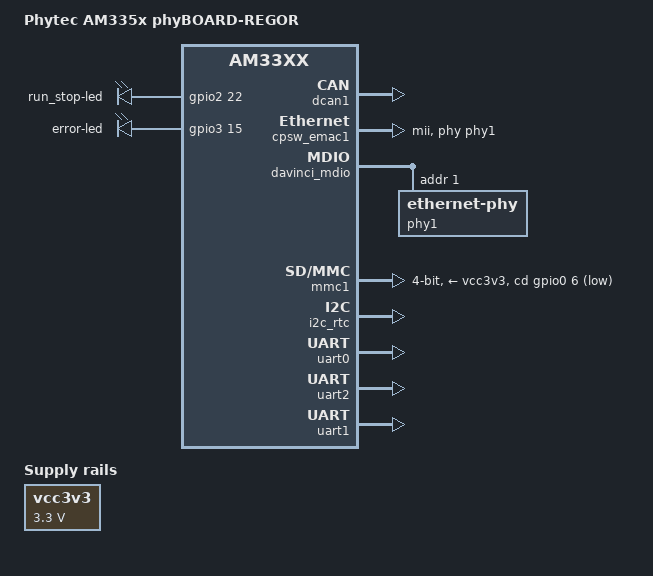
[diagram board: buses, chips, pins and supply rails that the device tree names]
// SPDX-License-Identifier: GPL-2.0
/*
 * Copyright (C) 2019 Phytec Messtechnik GmbH
 * Author: Teresa Remmet <t.remmet@phytec.de>
 *
 */

/ {
	model = "Phytec AM335x phyBOARD-REGOR";
	compatible = "phytec,am335x-regor", "phytec,am335x-phycore-som", "ti,am33xx";

	vcc3v3: fixedregulator@1 {
		compatible = "regulator-fixed";
		regulator-name = "vcc3v3";
		regulator-min-microvolt = <3300000>;
		regulator-max-microvolt = <3300000>;
		regulator-boot-on;
	};

	/* User IO */
	user_leds: user_leds {
		compatible = "gpio-leds";
		pinctrl-names = "default";
		pinctrl-0 = <&user_leds_pins>;

		run_stop-led {
			gpios = <&gpio2 22 GPIO_ACTIVE_HIGH>;
			linux,default-trigger = "gpio";
			default-state = "off";
		};

		error-led {
			gpios = <&gpio3 15 GPIO_ACTIVE_HIGH>;
			linux,default-trigger = "gpio";
			default-state = "off";
		};
	};
};

/* User Leds */
&am33xx_pinmux {
	user_leds_pins: pinmux_user_leds {
		pinctrl-single,pins = <
			AM33XX_IOPAD(0x8E0, PIN_OUTPUT_PULLDOWN | MUX_MODE7)	/* lcd_hsync.gpio2_22 */
			AM33XX_IOPAD(0x994, PIN_OUTPUT_PULLDOWN | MUX_MODE7)	/* mcasp0_fsx.gpio3_15 */
		>;
	};
};

/* CAN Busses */
&am33xx_pinmux {
	dcan1_pins: pinmux_dcan1 {
		pinctrl-single,pins = <
			AM33XX_IOPAD(0x968, PIN_OUTPUT_PULLUP | MUX_MODE2)	/* uart0_ctsn.d_can1_tx */
			AM33XX_IOPAD(0x96C, PIN_INPUT_PULLUP | MUX_MODE2)	/* uart0_rtsn.d_can1_rx */
		>;
	};
};

&dcan1 {
	pinctrl-names = "default";
	pinctrl-0 = <&dcan1_pins>;
	status = "okay";
};

/* Ethernet */
&am33xx_pinmux {
	ethernet1_pins: pinmux_ethernet1 {
		pinctrl-single,pins = <
			AM33XX_IOPAD(0x840, PIN_OUTPUT | MUX_MODE1)		/* gpmc_a0.mii2_txen */
			AM33XX_IOPAD(0x844, PIN_INPUT_PULLDOWN | MUX_MODE1)	/* gpmc_a1.mii2_rxdv */
			AM33XX_IOPAD(0x848, PIN_OUTPUT | MUX_MODE1)		/* gpmc_a2.mii2_txd3 */
			AM33XX_IOPAD(0x84C, PIN_OUTPUT | MUX_MODE1)		/* gpmc_a3.mii2_txd2 */
			AM33XX_IOPAD(0x850, PIN_OUTPUT | MUX_MODE1)		/* gpmc_a4.mii2_txd1 */
			AM33XX_IOPAD(0x854, PIN_OUTPUT | MUX_MODE1)		/* gpmc_a5.mii2_txd0 */
			AM33XX_IOPAD(0x858, PIN_INPUT_PULLDOWN | MUX_MODE1)	/* gpmc_a6.mii2_txclk */
			AM33XX_IOPAD(0x85C, PIN_INPUT_PULLDOWN | MUX_MODE1)	/* gpmc_a7.mii2_rxclk */
			AM33XX_IOPAD(0x860, PIN_INPUT_PULLDOWN | MUX_MODE1)	/* gpmc_a8.mii2_rxd3 */
			AM33XX_IOPAD(0x864, PIN_INPUT_PULLDOWN | MUX_MODE1)	 /* gpmc_a9.mii2_rxd2 */
			AM33XX_IOPAD(0x868, PIN_INPUT_PULLDOWN | MUX_MODE1)	/* gpmc_a10.mii2_rxd1 */
			AM33XX_IOPAD(0x86C, PIN_INPUT_PULLDOWN | MUX_MODE1)	/* gpmc_a11.mii2_rxd0 */
			AM33XX_IOPAD(0x874, PIN_INPUT_PULLDOWN | MUX_MODE1)	/* gpmc_wpn.mii2_rxerr */
			AM33XX_IOPAD(0x878, PIN_INPUT_PULLDOWN | MUX_MODE1)	/* gpmc_ben1.mii2_col */
		>;
	};
};

&cpsw_emac1 {
	phy-handle = <&phy1>;
	phy-mode = "mii";
	dual_emac_res_vlan = <2>;
};

&davinci_mdio {
	phy1: ethernet-phy@1 {
		reg = <1>;
	};
};

&mac {
	slaves = <2>;
	pinctrl-names = "default";
	pinctrl-0 = <&ethernet0_pins &ethernet1_pins>;
	dual_emac = <1>;
};

/* GPIOs */
&am33xx_pinmux {
	pinctrl-names = "default";
	pinctrl-0 = <&user_gpios_pins>;

	user_gpios_pins: pinmux_user_gpios {
		pinctrl-single,pins = <
			/* DIGIN 1-4 */
			AM33XX_IOPAD(0x82C, PIN_INPUT | MUX_MODE7)		/* gpmc_ad11.gpio0_27 */
			AM33XX_IOPAD(0x828, PIN_INPUT | MUX_MODE7)		/* gpmc_ad10.gpio0_26 */
			AM33XX_IOPAD(0x824, PIN_INPUT | MUX_MODE7)		/* gpmc_ad9.gpio0_23 */
			AM33XX_IOPAD(0x820, PIN_INPUT | MUX_MODE7)		/* gpmc_ad8.gpio0_22 */
			/* DIGOUT 1-4 */
			AM33XX_IOPAD(0x83C, PIN_OUTPUT | MUX_MODE7)		/* gpmc_ad15.gpio1_15 */
			AM33XX_IOPAD(0x838, PIN_OUTPUT | MUX_MODE7)		/* gpmc_ad14.gpio1_14 */
			AM33XX_IOPAD(0x834, PIN_OUTPUT | MUX_MODE7)		/* gpmc_ad13.gpio1_13 */
			AM33XX_IOPAD(0x830, PIN_OUTPUT | MUX_MODE7)		/* gpmc_ad12.gpio1_12 */
		>;
	};
};

/* MMC */
&am33xx_pinmux {
	mmc1_pins: pinmux_mmc1 {
		pinctrl-single,pins = <
			AM33XX_IOPAD(0x8F0, PIN_INPUT_PULLUP | MUX_MODE0)
			AM33XX_IOPAD(0x8F4, PIN_INPUT_PULLUP | MUX_MODE0)
			AM33XX_IOPAD(0x8F8, PIN_INPUT_PULLUP | MUX_MODE0)
			AM33XX_IOPAD(0x8FC, PIN_INPUT_PULLUP | MUX_MODE0)
			AM33XX_IOPAD(0x900, PIN_INPUT_PULLUP | MUX_MODE0)
			AM33XX_IOPAD(0x904, PIN_INPUT_PULLUP | MUX_MODE0)
			AM33XX_IOPAD(0x960, PIN_INPUT_PULLUP | MUX_MODE7)	/* spi0_cs1.mmc0_sdcd */
		>;
	};
};

&mmc1 {
	vmmc-supply = <&vcc3v3>;
	bus-width = <4>;
	pinctrl-names = "default";
	pinctrl-0 = <&mmc1_pins>;
	cd-gpios = <&gpio0 6 GPIO_ACTIVE_LOW>;
	status = "okay";
};

/* RTC */
&i2c_rtc {
	status = "okay";
};

/* UARTs */
&am33xx_pinmux {
	uart0_pins: pinmux_uart0 {
		pinctrl-single,pins = <
			AM33XX_IOPAD(0x970, PIN_INPUT_PULLUP | MUX_MODE0)
			AM33XX_IOPAD(0x974, PIN_OUTPUT_PULLDOWN | MUX_MODE0)
		>;
	};

	uart2_pins: pinmux_uart2 {
		pinctrl-single,pins = <
			AM33XX_IOPAD(0x92C, PIN_INPUT_PULLUP | MUX_MODE1)	/* mii1_tx_clk.uart2_rxd */
			AM33XX_IOPAD(0x930, PIN_OUTPUT_PULLDOWN | MUX_MODE1)	/* mii1_rx_clk.uart2_txd */
		>;
	};
};

&uart0 {
	pinctrl-names = "default";
	pinctrl-0 = <&uart0_pins>;
	status = "okay";
};

&uart2 {
	pinctrl-names = "default";
	pinctrl-0 = <&uart2_pins>;
	status = "okay";
};

/* RS485 - UART1 */
&am33xx_pinmux {
	uart1_rs485_pins: pinmux_uart1_rs485_pins {
		pinctrl-single,pins = <
			AM33XX_IOPAD(0x980, PIN_INPUT_PULLUP | MUX_MODE0)
			AM33XX_IOPAD(0x984, PIN_OUTPUT_PULLDOWN | MUX_MODE0)
			AM33XX_IOPAD(0x97C, PIN_OUTPUT_PULLUP | MUX_MODE0)
		>;
	};
};

&uart1 {
	pinctrl-names = "default";
	pinctrl-0 = <&uart1_rs485_pins>;
	status = "okay";
	linux,rs485-enabled-at-boot-time;
};
